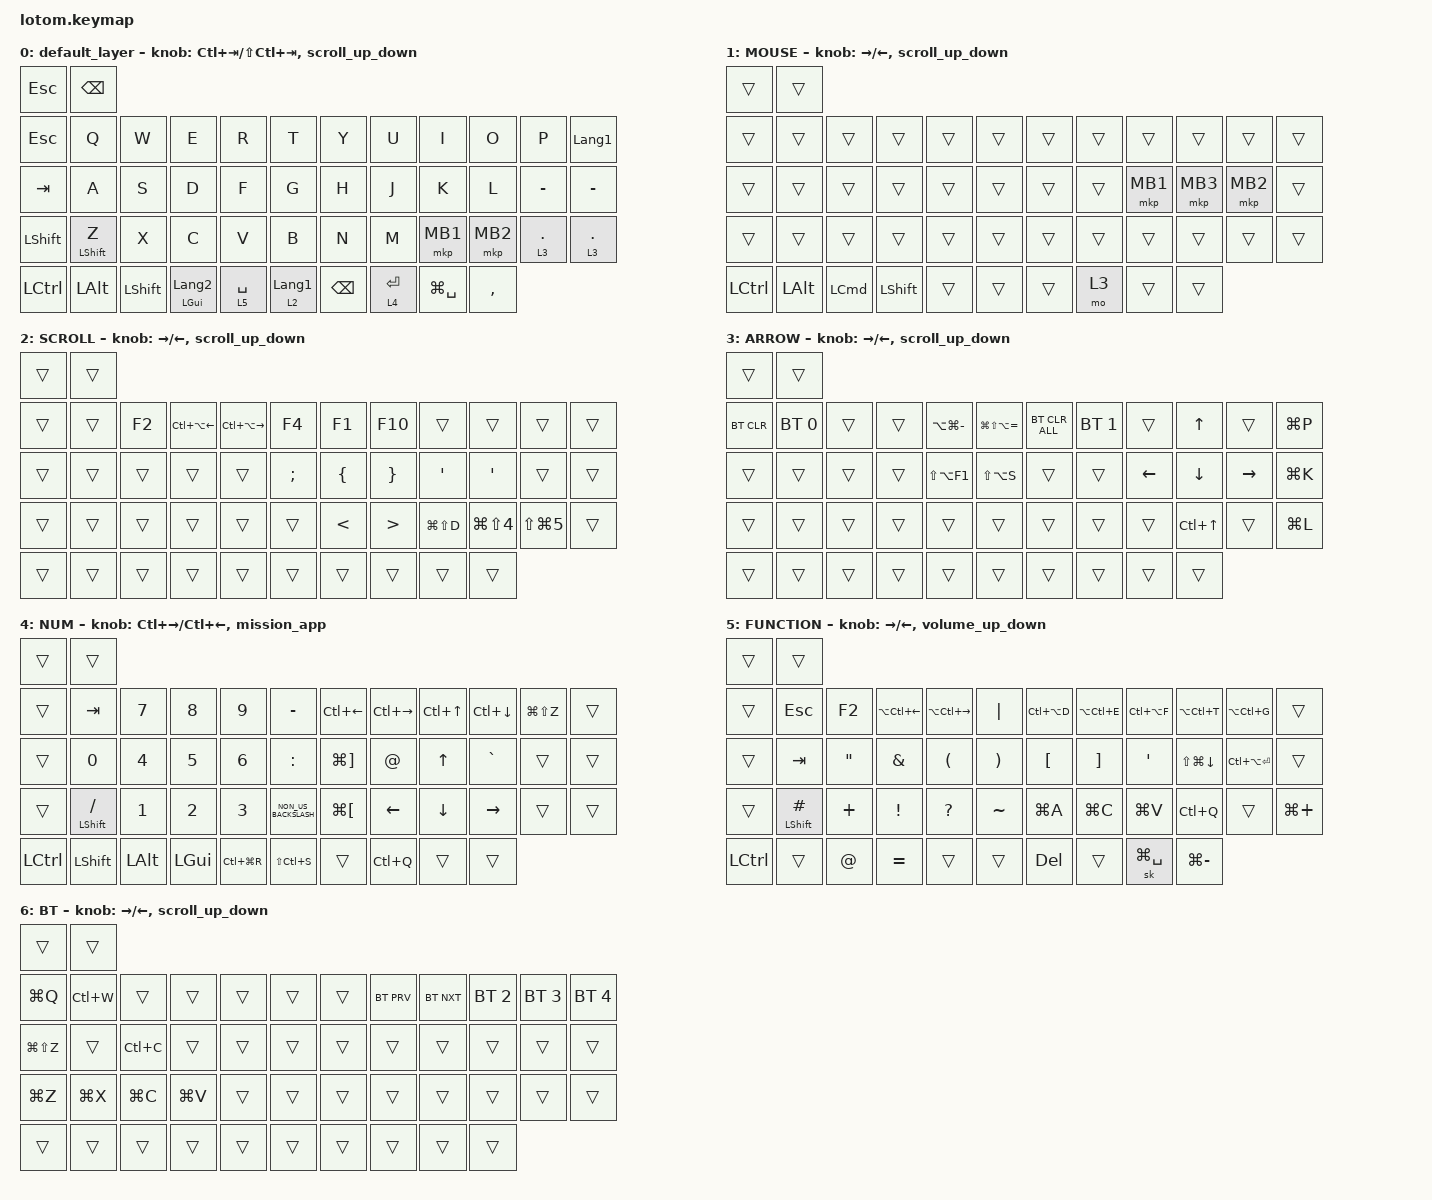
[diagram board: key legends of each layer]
#include <behaviors.dtsi>
#include <dt-bindings/zmk/bt.h>
#include <dt-bindings/zmk/keys.h>
#include <dt-bindings/zmk/pointing.h>

#define ZMK_POINTING_DEFAULT_SCRL_VAL 80

/ {
    behaviors {
        scroll_up_down: behavior_sensor_rotate_mouse_wheel_up_down {
            compatible = "zmk,behavior-sensor-rotate";
            label = "ENCODER_MSC_DOWN_UP";
            #sensor-binding-cells = <0>;
            bindings = <&msc SCRL_DOWN>, <&msc SCRL_UP>;

            tap-ms = <20>;
        };

        tab_slide: behavior_sensor_rotate_tab_slide {
            compatible = "zmk,behavior-sensor-rotate";
            label = "ENCODER_TAB_SLIDE";
            #sensor-binding-cells = <0>;
            bindings = <&kp LA(LG(RIGHT_ARROW))>, <&kp LA(LG(LEFT_ARROW))>;

            tap-ms = <20>;
        };

        mission_app: mission_app {
            compatible = "zmk,behavior-sensor-rotate";
            label = "MISSION_APP";
            #sensor-binding-cells = <0>;
            bindings = <&kp LC(DOWN)>, <&kp LC(UP_ARROW)>;

            tap-ms = <20>;
        };

        volume_up_down: volume_up_down {
            compatible = "zmk,behavior-sensor-rotate";
            label = "VOLUME_UP_DOWN";
            #sensor-binding-cells = <0>;
            bindings = <&kp LC(C_VOLUME_DOWN)>, <&kp LC(C_VOLUME_UP)>;

            tap-ms = <20>;
        };
    };

    combos {
        compatible = "zmk,combos";

        cmd+option+u {
            bindings = <&kt LG(LA(U))>;
            key-positions = <9 10>;
        };

        cmd+t {
            bindings = <&kp LG(T)>;
            key-positions = <6 5>;
        };

        cmd+w {
            bindings = <&kp W>;
            key-positions = <3 2>;
        };

        cmd+f {
            bindings = <&kp F>;
            key-positions = <18 17>;
        };
    };

    keymap {
        compatible = "zmk,keymap";

        default_layer {
            bindings = <
&kp ESCAPE      &kp BACKSPACE
&kp ESCAPE      &kp Q          &kp W           &kp E                    &kp R        &kp T             &kp Y          &kp U        &kp I          &kp O      &kp P         &kp LANGUAGE_1
&kp TAB         &kp A          &kp S           &kp D                    &kp F        &kp G             &kp H          &kp J        &kp K          &kp L      &kp MINUS     &kp MINUS
&kp LEFT_SHIFT  &mt LSHIFT Z   &kp X           &kp C                    &kp V        &kp B             &kp N          &kp M        &mkp MB1       &mkp MB2   &lt 3 PERIOD  &lt 3 PERIOD
&kp LCTRL       &kp LEFT_ALT   &kp LEFT_SHIFT  &mt LEFT_GUI LANGUAGE_2  &lt 5 SPACE  &lt 2 LANGUAGE_1  &kp BACKSPACE  &lt 4 ENTER  &kp LG(SPACE)  &kp COMMA
            >;

            sensor-bindings =
                <&inc_dec_kp LC(TAB) LS(LC(TAB))>,
                <&scroll_up_down>;
        };

        MOUSE {
            bindings = <
&trans     &trans
&trans     &trans        &trans            &trans          &trans  &trans  &trans  &trans  &trans    &trans    &trans    &trans
&trans     &trans        &trans            &trans          &trans  &trans  &trans  &trans  &mkp MB1  &mkp MB3  &mkp MB2  &trans
&trans     &trans        &trans            &trans          &trans  &trans  &trans  &trans  &trans    &trans    &trans    &trans
&kp LCTRL  &kp LEFT_ALT  &kp LEFT_COMMAND  &kp LEFT_SHIFT  &trans  &trans  &trans  &mo 3   &trans    &trans
            >;

            sensor-bindings = <
                &inc_dec_kp RIGHT_ARROW LEFT_ARROW
                &scroll_up_down
            >;
        };

        SCROLL {
            bindings = <
&trans  &trans
&trans  &trans  &kp F2  &kp LC(LA(LEFT))  &kp LC(LA(RIGHT))  &kp F4         &kp F1          &kp F10           &trans         &trans                &trans          &trans
&trans  &trans  &trans  &trans            &trans             &kp SEMICOLON  &kp LEFT_BRACE  &kp RIGHT_BRACE   &kp SQT        &kp SQT               &trans          &trans
&trans  &trans  &trans  &trans            &trans             &trans         &kp LESS_THAN   &kp GREATER_THAN  &kp LG(LS(D))  &kp LG(LS(NUMBER_4))  &kp LS(LG(N5))  &trans
&trans  &trans  &trans  &trans            &trans             &trans         &trans          &trans            &trans         &trans
            >;

            sensor-bindings = <
                &inc_dec_kp RIGHT_ARROW LEFT_ARROW
                &scroll_up_down
            >;
        };

        ARROW {
            bindings = <
&trans      &trans
&bt BT_CLR  &bt BT_SEL 0  &trans  &trans  &kp LA(LG(MINUS))  &kp LG(LS(LA(EQUAL)))  &bt BT_CLR_ALL  &bt BT_SEL 1  &trans          &kp UP_ARROW      &trans           &kp LG(P)
&trans      &trans        &trans  &trans  &kp LS(LA(F1))     &kp LS(LA(S))          &trans          &trans        &kp LEFT_ARROW  &kp DOWN_ARROW    &kp RIGHT_ARROW  &kp LG(K)
&trans      &trans        &trans  &trans  &trans             &trans                 &trans          &trans        &trans          &kp LC(UP_ARROW)  &trans           &kp LG(L)
&trans      &trans        &trans  &trans  &trans             &trans                 &trans          &trans        &trans          &trans
            >;

            sensor-bindings = <
                &inc_dec_kp RIGHT_ARROW LEFT_ARROW
                &scroll_up_down
            >;
        };

        NUM {
            bindings = <
&trans     &trans
&trans     &kp TAB           &kp N7    &kp N8    &kp N9         &kp MINUS             &kp LC(LEFT)           &kp LC(RIGHT)  &kp LC(UP_ARROW)  &kp LC(DOWN)  &kp LG(LS(Z))  &trans
&trans     &kp N0            &kp N4    &kp N5    &kp N6         &kp COLON             &kp LG(RIGHT_BRACKET)  &kp AT_SIGN    &kp UP_ARROW      &kp GRAVE     &trans         &trans
&trans     &mt LSHIFT SLASH  &kp N1    &kp N2    &kp N3         &kp NON_US_BACKSLASH  &kp LG(LEFT_BRACKET)   &kp LEFT       &kp DOWN          &kp RIGHT     &trans         &trans
&kp LCTRL  &kp LSHFT         &kp LALT  &kp LGUI  &kp LC(LG(R))  &kp LS(LC(S))         &trans                 &kp LC(Q)      &trans            &trans
            >;

            sensor-bindings = <&inc_dec_kp LC(RIGHT) LC(LEFT)>, <&mission_app>;
        };

        FUNCTION {
            bindings = <
&trans     &trans
&trans     &kp ESCAPE       &kp F2             &kp LA(LC(LEFT))  &kp LA(LC(RIGHT))     &kp PIPE               &kp LC(LA(D))     &kp LA(LC(E))      &kp LC(LA(F))  &kp LA(LC(T))     &kp LA(LC(G))      &trans
&trans     &kp TAB          &kp DOUBLE_QUOTES  &kp AMPERSAND     &kp LEFT_PARENTHESIS  &kp RIGHT_PARENTHESIS  &kp LEFT_BRACKET  &kp RIGHT_BRACKET  &kp SQT        &kp LS(LG(DOWN))  &kp LC(LA(ENTER))  &trans
&trans     &mt LSHIFT HASH  &kp PLUS           &kp EXCLAMATION   &kp QUESTION          &kp TILDE              &kp LG(A)         &kp LG(C)          &kp LG(V)      &kp LC(Q)         &trans             &kp LG(PLUS)
&kp LCTRL  &trans           &kp AT_SIGN        &kp EQUAL         &trans                &trans                 &kp DELETE        &trans             &sk LG(SPACE)  &kp LG(MINUS)
            >;

            sensor-bindings =
                <&inc_dec_kp RIGHT_ARROW LEFT_ARROW>,
                <&volume_up_down>;
        };

        BT {
            bindings = <
&trans         &trans
&kp LG(Q)      &kp LC(W)  &trans     &trans     &trans  &trans  &trans  &bt BT_PRV  &bt BT_NXT  &bt BT_SEL 2  &bt BT_SEL 3  &bt BT_SEL 4
&kp LG(LS(Z))  &trans     &kp LC(C)  &trans     &trans  &trans  &trans  &trans      &trans      &trans        &trans        &trans
&kp LG(Z)      &kp LG(X)  &kp LG(C)  &kp LG(V)  &trans  &trans  &trans  &trans      &trans      &trans        &trans        &trans
&trans         &trans     &trans     &trans     &trans  &trans  &trans  &trans      &trans      &trans
            >;

            sensor-bindings = <
                &inc_dec_kp RIGHT_ARROW LEFT_ARROW
                &scroll_up_down
            >;
        };
    };
};
